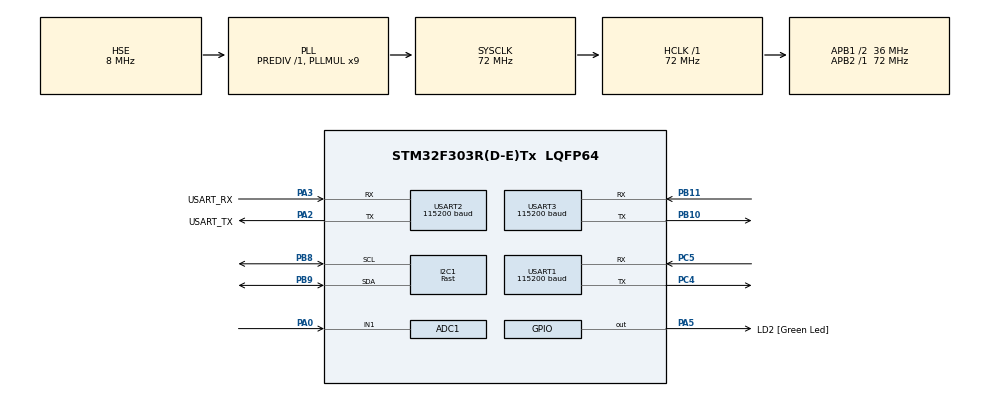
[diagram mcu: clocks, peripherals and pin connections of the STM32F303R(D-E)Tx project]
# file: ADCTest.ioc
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ADC1.Channel-1\#ChannelRegularConversion=ADC_CHANNEL_1
ADC1.ContinuousConvMode=ENABLE
ADC1.DMAContinuousRequests=ENABLE
ADC1.EnableRegularConversion=ENABLE
ADC1.ExternalTrigConv=ADC_EXTERNALTRIGCONV_T3_TRGO
ADC1.NbrOfConversionFlag=1
ADC1.Offset-1\#ChannelRegularConversion=0
ADC1.OffsetNumber-1\#ChannelRegularConversion=ADC_OFFSET_NONE
ADC1.Rank-1\#ChannelRegularConversion=1
ADC1.SamplingTime-1\#ChannelRegularConversion=ADC_SAMPLETIME_601CYCLES_5
ADC1.SamplingTimeOPAMP-1\#ChannelRegularConversion=ADC_SAMPLETIME_61CYCLES_5
ADC1.master=1
Dma.ADC1.0.Direction=DMA_PERIPH_TO_MEMORY
Dma.ADC1.0.Instance=DMA1_Channel1
Dma.ADC1.0.MemDataAlignment=DMA_MDATAALIGN_HALFWORD
Dma.ADC1.0.MemInc=DMA_MINC_ENABLE
Dma.ADC1.0.Mode=DMA_CIRCULAR
Dma.ADC1.0.PeriphDataAlignment=DMA_PDATAALIGN_HALFWORD
Dma.ADC1.0.PeriphInc=DMA_PINC_DISABLE
Dma.ADC1.0.Priority=DMA_PRIORITY_HIGH
Dma.Request0=ADC1
Dma.Request1=USART1_RX
Dma.Request2=USART1_TX
Dma.Request3=USART2_RX
Dma.Request4=USART2_TX
Dma.Request5=USART3_RX
Dma.Request6=USART3_TX
Dma.USART1_RX.1.Direction=DMA_PERIPH_TO_MEMORY
Dma.USART1_RX.1.Instance=DMA1_Channel5
Dma.USART1_RX.1.MemDataAlignment=DMA_MDATAALIGN_BYTE
Dma.USART1_RX.1.MemInc=DMA_MINC_ENABLE
Dma.USART1_RX.1.Mode=DMA_NORMAL
Dma.USART1_RX.1.PeriphDataAlignment=DMA_PDATAALIGN_BYTE
Dma.USART1_RX.1.PeriphInc=DMA_PINC_DISABLE
Dma.USART1_RX.1.Priority=DMA_PRIORITY_LOW
Dma.USART1_TX.2.Direction=DMA_MEMORY_TO_PERIPH
Dma.USART1_TX.2.Instance=DMA1_Channel4
Dma.USART1_TX.2.MemDataAlignment=DMA_MDATAALIGN_BYTE
Dma.USART1_TX.2.MemInc=DMA_MINC_ENABLE
Dma.USART1_TX.2.Mode=DMA_NORMAL
Dma.USART1_TX.2.PeriphDataAlignment=DMA_PDATAALIGN_BYTE
Dma.USART1_TX.2.PeriphInc=DMA_PINC_DISABLE
Dma.USART1_TX.2.Priority=DMA_PRIORITY_LOW
Dma.USART2_RX.3.Direction=DMA_PERIPH_TO_MEMORY
Dma.USART2_RX.3.Instance=DMA1_Channel6
Dma.USART2_RX.3.MemDataAlignment=DMA_MDATAALIGN_BYTE
Dma.USART2_RX.3.MemInc=DMA_MINC_ENABLE
Dma.USART2_RX.3.Mode=DMA_NORMAL
Dma.USART2_RX.3.PeriphDataAlignment=DMA_PDATAALIGN_BYTE
Dma.USART2_RX.3.PeriphInc=DMA_PINC_DISABLE
Dma.USART2_RX.3.Priority=DMA_PRIORITY_LOW
Dma.USART2_TX.4.Direction=DMA_MEMORY_TO_PERIPH
Dma.USART2_TX.4.Instance=DMA1_Channel7
Dma.USART2_TX.4.MemDataAlignment=DMA_MDATAALIGN_BYTE
Dma.USART2_TX.4.MemInc=DMA_MINC_ENABLE
Dma.USART2_TX.4.Mode=DMA_NORMAL
Dma.USART2_TX.4.PeriphDataAlignment=DMA_PDATAALIGN_BYTE
Dma.USART2_TX.4.PeriphInc=DMA_PINC_DISABLE
Dma.USART2_TX.4.Priority=DMA_PRIORITY_LOW
Dma.USART3_RX.5.Direction=DMA_PERIPH_TO_MEMORY
Dma.USART3_RX.5.Instance=DMA1_Channel3
Dma.USART3_RX.5.MemDataAlignment=DMA_MDATAALIGN_BYTE
Dma.USART3_RX.5.MemInc=DMA_MINC_ENABLE
Dma.USART3_RX.5.Mode=DMA_NORMAL
Dma.USART3_RX.5.PeriphDataAlignment=DMA_PDATAALIGN_BYTE
Dma.USART3_RX.5.PeriphInc=DMA_PINC_DISABLE
Dma.USART3_RX.5.Priority=DMA_PRIORITY_LOW
Dma.USART3_TX.6.Direction=DMA_MEMORY_TO_PERIPH
Dma.USART3_TX.6.Instance=DMA1_Channel2
Dma.USART3_TX.6.MemDataAlignment=DMA_MDATAALIGN_BYTE
Dma.USART3_TX.6.MemInc=DMA_MINC_ENABLE
Dma.USART3_TX.6.Mode=DMA_NORMAL
Dma.USART3_TX.6.PeriphDataAlignment=DMA_PDATAALIGN_BYTE
Dma.USART3_TX.6.PeriphInc=DMA_PINC_DISABLE
Dma.USART3_TX.6.Priority=DMA_PRIORITY_LOW
I2C1.I2C_Speed_Mode=I2C_Fast
I2C1.Timing=0x0010020A
Mcu.Family=STM32F3
Mcu.Name=STM32F303R(D-E)Tx
Mcu.Package=LQFP64
NVIC.DMA1_Channel1_IRQn=true\:0\:0\:false\:false\:true\:false\:true\:true
NVIC.DMA1_Channel2_IRQn=true\:0\:0\:false\:false\:true\:false\:true\:true
NVIC.DMA1_Channel3_IRQn=true\:0\:0\:false\:false\:true\:false\:true\:true
NVIC.DMA1_Channel4_IRQn=true\:0\:0\:false\:false\:true\:false\:true\:true
NVIC.DMA1_Channel5_IRQn=true\:0\:0\:false\:false\:true\:false\:true\:true
NVIC.DMA1_Channel6_IRQn=true\:0\:0\:false\:false\:true\:false\:true\:true
NVIC.DMA1_Channel7_IRQn=true\:0\:0\:false\:false\:true\:false\:true\:true
NVIC.PriorityGroup=NVIC_PRIORITYGROUP_0
NVIC.USART1_IRQn=true\:0\:0\:false\:false\:true\:true\:true\:true
NVIC.USART2_IRQn=true\:0\:0\:false\:false\:true\:true\:true\:true
NVIC.USART3_IRQn=true\:0\:0\:false\:false\:true\:true\:true\:true
PA0.Mode=IN1-Single-Ended
PA0.Signal=ADC1_IN1
PA13.GPIO_Label=TMS
PA13.Mode=Serial_Wire
PA13.Signal=SYS_JTMS-SWDIO
PA14.GPIO_Label=TCK
PA14.Mode=Serial_Wire
PA14.Signal=SYS_JTCK-SWCLK
PA2.GPIO_Label=USART_TX
PA2.GPIO_Mode=GPIO_MODE_AF_PP
PA2.GPIO_PuPd=GPIO_NOPULL
PA2.GPIO_Speed=GPIO_SPEED_FREQ_LOW
PA2.Mode=Asynchronous
PA2.Signal=USART2_TX
PA3.GPIO_Label=USART_RX
PA3.GPIO_Mode=GPIO_MODE_AF_PP
PA3.GPIO_PuPd=GPIO_NOPULL
PA3.GPIO_Speed=GPIO_SPEED_FREQ_LOW
PA3.Mode=Asynchronous
PA3.Signal=USART2_RX
PA5.GPIO_Label=LD2 [Green Led]
PA5.GPIO_Mode=GPIO_MODE_OUTPUT_PP
PA5.GPIO_PuPd=GPIO_NOPULL
PA5.GPIO_Speed=GPIO_SPEED_FREQ_LOW
PA5.Signal=GPIO_Output
PB10.Mode=Asynchronous
PB10.Signal=USART3_TX
PB11.Mode=Asynchronous
PB11.Signal=USART3_RX
PB3.GPIO_Label=SWO
PB3.Signal=SYS_JTDO-TRACESWO
PB8.Mode=I2C
PB8.Signal=I2C1_SCL
PB9.Mode=I2C
PB9.Signal=I2C1_SDA
PC14-OSC32_IN.Mode=LSE-External-Oscillator
PC14-OSC32_IN.Signal=RCC_OSC32_IN
PC15-OSC32_OUT.Mode=LSE-External-Oscillator
PC15-OSC32_OUT.Signal=RCC_OSC32_OUT
PC4.Mode=Asynchronous
PC4.Signal=USART1_TX
PC5.Mode=Asynchronous
PC5.Signal=USART1_RX
PF0-OSC_IN.Mode=HSE-External-Clock-Source
PF0-OSC_IN.Signal=RCC_OSC_IN
PF1-OSC_OUT.Signal=RCC_OSC_OUT
ProjectManager.HeapSize=0x200
ProjectManager.StackSize=0x400
ProjectManager.TargetToolchain=CMake
RCC.AHBFreq_Value=72000000
RCC.APB1CLKDivider=RCC_HCLK_DIV2
RCC.APB1Freq_Value=36000000
RCC.APB1TimFreq_Value=72000000
RCC.APB2Freq_Value=72000000
RCC.APB2TimFreq_Value=72000000
RCC.CortexFreq_Value=72000000
RCC.HCLKFreq_Value=72000000
RCC.HSE_VALUE=8000000
RCC.HSI_VALUE=8000000
RCC.PLLM=8
RCC.PLLMUL=RCC_PLL_MUL9
RCC.PLLN=336
RCC.PLLP=RCC_PLLP_DIV4
RCC.PLLQ=7
RCC.PLLSourceVirtual=RCC_PLLSOURCE_HSE
RCC.RCC_PLLsource_Clock_Source_FROM_HSE=RCC_HSE_PREDIV_DIV2
RCC.SYSCLKFreq_VALUE=72000000
RCC.SYSCLKSourceVirtual=RCC_SYSCLKSOURCE_PLLCLK
RCC.USBFreq_Value=72000000
TIM3.Period=999
TIM3.Prescaler=35
TIM3.TIM_MasterOutputTrigger=TIM_TRGO_UPDATE
USART1.BaudRate=115200
USART1.VirtualMode-Asynchronous=VM_ASYNC
USART2.BaudRate=115200
USART2.VirtualMode-Asynchronous=VM_ASYNC
USART3.BaudRate=115200
USART3.VirtualMode-Asynchronous=VM_ASYNC
VP_TIM3_VS_ClockSourceINT.Mode=Internal
board=NUCLEO-F303RE

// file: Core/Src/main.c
/* USER CODE BEGIN Header */
/**
  ******************************************************************************
  * @file           : main.c
  * @brief          : Main program body
  ******************************************************************************
  * @attention
  *
  * Copyright (c) 2025 STMicroelectronics.
  * All rights reserved.
  *
  * This software is licensed under terms that can be found in the LICENSE file
  * in the root directory of this software component.
  * If no LICENSE file comes with this software, it is provided AS-IS.
  *
  ******************************************************************************
  */
/* USER CODE END Header */
#include "main.h"

/* USER CODE BEGIN Includes */
#include <stdio.h>
#include <string.h>
#include <stdbool.h>

#include "arm_math.h"
#include "ssd1306.h"
#include "ssd1306_fonts.h"
/* USER CODE END Includes */

/* USER CODE BEGIN PD */
#define ADC_BUFFER_SIZE 2048
#define FFT_SIZE ADC_BUFFER_SIZE

/* MOPA Algorithm parameters */
#define SAMPLE_RATE 2000.0f        /* Sample rate in Hz */
#define MIN_OMEGA 10.0f            /* Minimum angular frequency (Hz) */
#define MAX_OMEGA 100.0f           /* Maximum angular frequency (Hz) */
#define N_OMEGA 100                /* Number of omega candidates (reduced for embedded) */
#define N_ORDERS 3                 /* Number of harmonic orders */
#define SIGMA_HZ 10.0f             /* Gaussian prior smoothing parameter */
#define PRIOR_WEIGHT 2.0f          /* Weight for Gaussian prior */
/* USER CODE END PD */

ADC_HandleTypeDef hadc1;
DMA_HandleTypeDef hdma_adc1;

I2C_HandleTypeDef hi2c1;

TIM_HandleTypeDef htim3;

UART_HandleTypeDef huart1;
UART_HandleTypeDef huart2;
UART_HandleTypeDef huart3;
DMA_HandleTypeDef hdma_usart1_rx;
DMA_HandleTypeDef hdma_usart1_tx;
DMA_HandleTypeDef hdma_usart2_rx;
DMA_HandleTypeDef hdma_usart2_tx;
DMA_HandleTypeDef hdma_usart3_rx;
DMA_HandleTypeDef hdma_usart3_tx;

/* USER CODE BEGIN PV */

/*
Input buffer for the MOPA algorithm, filled by ADC DMA.
*/
uint16_t adc_input_buffer[ADC_BUFFER_SIZE];    /* Input buffer filled by ADC DMA */

volatile uint8_t buffer_half_full_flag = 0;
volatile uint8_t buffer_full_flag = 0;

// FFT buffers and instance
float32_t fft_input[FFT_SIZE];
float32_t fft_output[FFT_SIZE * 2];  // Complex output: real and imaginary
float32_t fft_magnitude[FFT_SIZE];
float32_t hann_window[FFT_SIZE];  // Hann window coefficients

arm_rfft_fast_instance_f32 fft_instance;

// Voltage measurement variables
#define VREF 3.3f  // Reference voltage in volts
#define ADC_MAX 4095.0f  // 12-bit ADC max value (2^12 - 1)

/* MOPA Algorithm buffers */
static const uint8_t mopa_orders[N_ORDERS] = {1, 2, 3};  /* Harmonic orders to consider */
float32_t mopa_omega[N_OMEGA];              /* Omega candidate values */
float32_t mopa_pdf[N_OMEGA];                /* PDF for current frame */
float32_t mopa_biased_pdf[N_OMEGA];         /* Biased PDF with Gaussian prior */
float32_t mopa_prev_ias = 0.0f;             /* Previous IAS estimate for smoothing */
float32_t mopa_current_ias = 0.0f;          /* Current IAS estimate */
volatile uint8_t mopa_ias_ready = 0;        /* Flag: IAS estimate ready */
uint8_t mopa_initialized = 0;               /* Flag: MOPA omega vector initialized */

/* Spectrum parameters (calculated from FFT) */
float32_t spectrum_df = 0.0f;               /* Frequency resolution (Hz per bin) */
float32_t spectrum_max_freq = 0.0f;         /* Maximum frequency in spectrum */

/* USER CODE END PV */

void SystemClock_Config(void);
static void MX_GPIO_Init(void);
static void MX_DMA_Init(void);
static void MX_USART2_UART_Init(void);
static void MX_ADC1_Init(void);
static void MX_USART1_UART_Init(void);
static void MX_USART3_UART_Init(void);
static void MX_TIM3_Init(void);
static void MX_I2C1_Init(void);
/* USER CODE BEGIN PFP */

/* MOPA function prototypes */
static void mopa_init(void);
static void normalize_spectrum(void);
static float32_t interp_spectrum(float32_t freq);
static void compute_pdf_map(void);
static float32_t extract_ias(void);
/* USER CODE END PFP */

/* USER CODE BEGIN 0 */

/*
HELPER FUNCTIONS
*/

// Initialize Hann window coefficients
void init_hann_window(void)
{
  const float32_t pi = 3.14159265358979323846f;
  for (uint32_t i = 0; i < FFT_SIZE; i++)
  {
    // Hann window: w(n) = 0.5 * (1 - cos(2*pi*n/(N-1)))
    hann_window[i] = 0.5f * (1.0f - arm_cos_f32(2.0f * pi * i / (FFT_SIZE - 1)));
  }
}

/*
MOPA FUNCTIONS
*/

// Process FFT on ADC buffer segment with Hann windowing
void process_fft(uint16_t* input, uint32_t offset)
{
  uint32_t half_size = FFT_SIZE / 2;
  uint32_t old_data_offset;

  // Determine the offset of the old data
  if (offset == 0) {
      old_data_offset = half_size;
  } else {
      old_data_offset = 0;
  }

  /* Construct Input Buffer: [OLD DATA] + [NEW DATA] */

  // First, copy data without windowing to calculate DC offset
  float32_t dc_sum = 0.0f;
  for (uint32_t i = 0; i < half_size; i++)
  {
      fft_input[i] = (float32_t) input[old_data_offset + i];
      dc_sum += fft_input[i];
  }
  for (uint32_t i = 0; i < half_size; i++)
  {
      fft_input[i + half_size] = (float32_t) input[offset + i];
      dc_sum += fft_input[i + half_size];
  }

  // Calculate and remove DC offset
  float32_t dc_offset = dc_sum / (float32_t)FFT_SIZE;

  // Remove DC offset and apply Hann window
  for (uint32_t i = 0; i < FFT_SIZE; i++)
  {
      fft_input[i] = (fft_input[i] - dc_offset) * hann_window[i];
  }

  // Perform FFT
  arm_rfft_fast_f32(&fft_instance, fft_input, fft_output, 0);

  // Calculate magnitude spectrum
  arm_cmplx_mag_f32(fft_output, fft_magnitude, FFT_SIZE / 2);

  // Normalize the magnitude spectrum (for FFT scaling)
  float32_t norm_factor = 2.0f / (float32_t)FFT_SIZE;
  for (uint32_t i = 0; i < FFT_SIZE / 2; i++) {
    fft_magnitude[i] *= norm_factor;
  }

  // Run MOPA algorithm
  if (mopa_initialized) {
    // Normalize spectrum for MOPA (RMS normalization)
    normalize_spectrum();

    // Compute PDF map
    compute_pdf_map();

    // Extract IAS estimate
    mopa_current_ias = extract_ias();
    mopa_prev_ias = mopa_current_ias;
    mopa_ias_ready = 1;
  }
}

/* Initialize MOPA algorithm - compute omega vector and spectrum parameters */
static void mopa_init(void) {
  /* Compute omega candidate vector */
  float32_t d_omega = (MAX_OMEGA - MIN_OMEGA) / (float32_t)(N_OMEGA - 1);
  for (uint16_t i = 0; i < N_OMEGA; i++) {
    mopa_omega[i] = MIN_OMEGA + i * d_omega;
  }

  /* Compute spectrum parameters based on FFT size and sample rate */
  spectrum_df = SAMPLE_RATE / (float32_t)FFT_SIZE;
  spectrum_max_freq = spectrum_df * ((float32_t)FFT_SIZE / 2.0f - 1.0f);

  mopa_initialized = 1;
}

/* Normalize the magnitude spectrum by its RMS value */
static void normalize_spectrum(void) {
  float32_t sum_sq = 0.0f;
  uint16_t n_bins = FFT_SIZE / 2;

  /* Calculate sum of squares */
  for (uint16_t i = 0; i < n_bins; i++) {
    sum_sq += fft_magnitude[i] * fft_magnitude[i];
  }

  /* Calculate RMS and normalize */
  float32_t rms;
  arm_sqrt_f32(sum_sq / (float32_t)n_bins, &rms);

  if (rms > 1e-10f) {
    float32_t inv_rms = 1.0f / rms;
    for (uint16_t i = 0; i < n_bins; i++) {
      fft_magnitude[i] *= inv_rms;
    }
  }
}

/* Linear interpolation of spectrum at a given frequency */
static float32_t interp_spectrum(float32_t freq) {
  /* Handle boundary cases */
  if (freq <= 0.0f) {
    return fft_magnitude[0];
  }
  if (freq >= spectrum_max_freq) {
    return fft_magnitude[FFT_SIZE / 2 - 1];
  }

  /* Calculate bin index */
  float32_t bin_float = freq / spectrum_df;
  uint16_t idx = (uint16_t)bin_float;

  if (idx >= FFT_SIZE / 2 - 1) {
    idx = FFT_SIZE / 2 - 2;
  }

  /* Linear interpolation */
  float32_t f0 = idx * spectrum_df;
  float32_t f1 = (idx + 1) * spectrum_df;
  float32_t v0 = fft_magnitude[idx];
  float32_t v1 = fft_magnitude[idx + 1];

  float32_t t = (freq - f0) / (f1 - f0);
  return v0 + t * (v1 - v0);
}

/* Compute PDF map for all omega candidates */
static void compute_pdf_map(void) {
  float32_t max_log = -1e30f;

  /* Compute log-PDF for each omega candidate */
  for (uint16_t i = 0; i < N_OMEGA; i++) {
    float32_t w = mopa_omega[i];
    float32_t log_pdf = 0.0f;

    /* Sum log of spectrum values at harmonic frequencies */
    for (uint8_t o = 0; o < N_ORDERS; o++) {
      float32_t freq = mopa_orders[o] * w;
      if (freq < spectrum_max_freq) {
        float32_t s = interp_spectrum(freq);
        if (s < 1e-10f) s = 1e-10f;
        log_pdf += logf(s);
      }
    }

    mopa_pdf[i] = log_pdf;
    if (log_pdf > max_log) {
      max_log = log_pdf;
    }
  }

  /* Convert to linear scale and normalize */
  float32_t sum = 0.0f;
  for (uint16_t i = 0; i < N_OMEGA; i++) {
    float32_t val = expf(mopa_pdf[i] - max_log);
    mopa_pdf[i] = val;
    sum += val;
  }

  if (sum > 0.0f) {
    float32_t inv_sum = 1.0f / sum;
    for (uint16_t i = 0; i < N_OMEGA; i++) {
      mopa_pdf[i] *= inv_sum;
    }
  }
}

/* Extract IAS estimate using Gaussian prior smoothing */
static float32_t extract_ias(void) {
  float32_t max_val = 0.0f;
  uint16_t peak_idx = 0;

  if (mopa_prev_ias == 0.0f) {
    /* First frame: simple argmax */
    for (uint16_t i = 0; i < N_OMEGA; i++) {
      if (mopa_pdf[i] > max_val) {
        max_val = mopa_pdf[i];
        peak_idx = i;
      }
    }
  } else {
    /* Subsequent frames: apply Gaussian prior biasing */
    float32_t sigma_sq_2 = 2.0f * SIGMA_HZ * SIGMA_HZ;

    for (uint16_t i = 0; i < N_OMEGA; i++) {
      float32_t w = mopa_omega[i];
      float32_t diff = w - mopa_prev_ias;
      float32_t gaussian = expf(-(diff * diff) / sigma_sq_2);
      mopa_biased_pdf[i] = mopa_pdf[i] * (1.0f + PRIOR_WEIGHT * gaussian);

      if (mopa_biased_pdf[i] > max_val) {
        max_val = mopa_biased_pdf[i];
        peak_idx = i;
      }
    }
  }

  return mopa_omega[peak_idx];
}

/*
INTERRUPT ROUTINES
*/

// DMA half-transfer complete callback
void HAL_ADC_ConvHalfCpltCallback(ADC_HandleTypeDef* hadc)
{
  if (hadc->Instance == ADC1)
  {
    buffer_half_full_flag = 1;
  }
}

// DMA transfer complete callback
void HAL_ADC_ConvCpltCallback(ADC_HandleTypeDef* hadc)
{
  if (hadc->Instance == ADC1)
  {
    buffer_full_flag = 1;
  }
}

/* USER CODE END 0 */

int main(void)
{

  /* MCU Configuration--------------------------------------------------------*/

  /* Reset of all peripherals, Initializes the Flash interface and the Systick. */
  HAL_Init();

  /* Configure the system clock */
  SystemClock_Config();

  /* Initialize all configured peripherals */
  MX_GPIO_Init();
  MX_DMA_Init();
  MX_USART2_UART_Init();
  MX_ADC1_Init();
  MX_USART1_UART_Init();
  MX_USART3_UART_Init();
  MX_TIM3_Init();
  MX_I2C1_Init();
  /* USER CODE BEGIN 2 */

  // Initialize FFT instance
  arm_rfft_fast_init_f32(&fft_instance, FFT_SIZE);

  // Initialize Hann window coefficients for spectral leakage reduction
  init_hann_window();

  // Initialize MOPA algorithm
  mopa_init();

  // Calibrate ADC
  HAL_ADCEx_Calibration_Start(&hadc1, ADC_SINGLE_ENDED);

  // Start ADC with DMA
  HAL_ADC_Start_DMA(&hadc1, (uint32_t*) adc_input_buffer, ADC_BUFFER_SIZE);

  // Start TIM3 to trigger ADC conversions at 2000 Hz
  HAL_TIM_Base_Start(&htim3);

  // Initialize SSD1306 OLED display
  ssd1306_Init();
  ssd1306_Fill(Black);
  ssd1306_SetCursor(0, 0);
  ssd1306_WriteString("Motor Speed", Font_11x18, White);
  ssd1306_SetCursor(0, 24);
  ssd1306_WriteString("Waiting...", Font_11x18, White);
  ssd1306_UpdateScreen();

  /* USER CODE END 2 */

  /* Infinite loop */
  while (1)
  {

    /* USER CODE BEGIN 3 */

    // Output IAS estimate when ready
    if (mopa_ias_ready) {
      mopa_ias_ready = 0;
      // Convert float to integer parts
      int ias_int = (int)mopa_current_ias;
      int ias_frac = (int)((mopa_current_ias - ias_int) * 100);
      if (ias_frac < 0) ias_frac = -ias_frac;

      // Display IAS on OLED
      ssd1306_Fill(Black);
      ssd1306_SetCursor(0, 0);
      ssd1306_WriteString("Motor Speed", Font_11x18, White);
      ssd1306_SetCursor(0, 24);
      char oled_ias[16];
      sprintf(oled_ias, "%d.%02d Hz", ias_int, ias_frac);
      ssd1306_WriteString(oled_ias, Font_16x26, White);
      ssd1306_UpdateScreen();
    }

    // Check if ADC buffer is half full
    if (buffer_half_full_flag)
    {
      buffer_half_full_flag = 0;
      process_fft(adc_input_buffer, 0);
    }

    // Check if ADC buffer is full
    if (buffer_full_flag)
    {
      buffer_full_flag = 0;
      process_fft(adc_input_buffer, ADC_BUFFER_SIZE / 2);
    }

  }
  /* USER CODE END 3 */
}

void SystemClock_Config(void)
{
  RCC_OscInitTypeDef RCC_OscInitStruct = {0};
  RCC_ClkInitTypeDef RCC_ClkInitStruct = {0};
  RCC_PeriphCLKInitTypeDef PeriphClkInit = {0};

  /** Initializes the RCC Oscillators according to the specified parameters
  * in the RCC_OscInitTypeDef structure.
  */
  RCC_OscInitStruct.OscillatorType = RCC_OSCILLATORTYPE_HSI|RCC_OSCILLATORTYPE_HSE;
  RCC_OscInitStruct.HSEState = RCC_HSE_BYPASS;
  RCC_OscInitStruct.HSIState = RCC_HSI_ON;
  RCC_OscInitStruct.HSICalibrationValue = RCC_HSICALIBRATION_DEFAULT;
  RCC_OscInitStruct.PLL.PLLState = RCC_PLL_ON;
  RCC_OscInitStruct.PLL.PLLSource = RCC_PLLSOURCE_HSE;
  RCC_OscInitStruct.PLL.PLLMUL = RCC_PLL_MUL9;
  RCC_OscInitStruct.PLL.PREDIV = RCC_PREDIV_DIV1;
  if (HAL_RCC_OscConfig(&RCC_OscInitStruct) != HAL_OK)
  {
    Error_Handler();
  }

  /** Initializes the CPU, AHB and APB buses clocks
  */
  RCC_ClkInitStruct.ClockType = RCC_CLOCKTYPE_HCLK|RCC_CLOCKTYPE_SYSCLK
                              |RCC_CLOCKTYPE_PCLK1|RCC_CLOCKTYPE_PCLK2;
  RCC_ClkInitStruct.SYSCLKSource = RCC_SYSCLKSOURCE_PLLCLK;
  RCC_ClkInitStruct.AHBCLKDivider = RCC_SYSCLK_DIV1;
  RCC_ClkInitStruct.APB1CLKDivider = RCC_HCLK_DIV2;
  RCC_ClkInitStruct.APB2CLKDivider = RCC_HCLK_DIV1;

  if (HAL_RCC_ClockConfig(&RCC_ClkInitStruct, FLASH_LATENCY_2) != HAL_OK)
  {
    Error_Handler();
  }
  PeriphClkInit.PeriphClockSelection = RCC_PERIPHCLK_USART1|RCC_PERIPHCLK_USART2
                              |RCC_PERIPHCLK_USART3|RCC_PERIPHCLK_I2C1
                              |RCC_PERIPHCLK_ADC12|RCC_PERIPHCLK_TIM34;
  PeriphClkInit.Usart1ClockSelection = RCC_USART1CLKSOURCE_PCLK2;
  PeriphClkInit.Usart2ClockSelection = RCC_USART2CLKSOURCE_PCLK1;
  PeriphClkInit.Usart3ClockSelection = RCC_USART3CLKSOURCE_PCLK1;
  PeriphClkInit.Adc12ClockSelection = RCC_ADC12PLLCLK_DIV1;
  PeriphClkInit.I2c1ClockSelection = RCC_I2C1CLKSOURCE_HSI;
  PeriphClkInit.Tim34ClockSelection = RCC_TIM34CLK_HCLK;
  if (HAL_RCCEx_PeriphCLKConfig(&PeriphClkInit) != HAL_OK)
  {
    Error_Handler();
  }
}

static void MX_ADC1_Init(void)
{

  ADC_MultiModeTypeDef multimode = {0};
  ADC_ChannelConfTypeDef sConfig = {0};

  /** Common config
  */
  hadc1.Instance = ADC1;
  hadc1.Init.ClockPrescaler = ADC_CLOCK_ASYNC_DIV1;
  hadc1.Init.Resolution = ADC_RESOLUTION_12B;
  hadc1.Init.ScanConvMode = ADC_SCAN_DISABLE;
  hadc1.Init.ContinuousConvMode = ENABLE;
  hadc1.Init.DiscontinuousConvMode = DISABLE;
  hadc1.Init.ExternalTrigConvEdge = ADC_EXTERNALTRIGCONVEDGE_RISING;
  hadc1.Init.ExternalTrigConv = ADC_EXTERNALTRIGCONV_T3_TRGO;
  hadc1.Init.DataAlign = ADC_DATAALIGN_RIGHT;
  hadc1.Init.NbrOfConversion = 1;
  hadc1.Init.DMAContinuousRequests = ENABLE;
  hadc1.Init.EOCSelection = ADC_EOC_SINGLE_CONV;
  hadc1.Init.LowPowerAutoWait = DISABLE;
  hadc1.Init.Overrun = ADC_OVR_DATA_OVERWRITTEN;
  if (HAL_ADC_Init(&hadc1) != HAL_OK)
  {
    Error_Handler();
  }

  /** Configure the ADC multi-mode
  */
  multimode.Mode = ADC_MODE_INDEPENDENT;
  if (HAL_ADCEx_MultiModeConfigChannel(&hadc1, &multimode) != HAL_OK)
  {
    Error_Handler();
  }

  /** Configure Regular Channel
  */
  sConfig.Channel = ADC_CHANNEL_1;
  sConfig.Rank = ADC_REGULAR_RANK_1;
  sConfig.SingleDiff = ADC_SINGLE_ENDED;
  sConfig.SamplingTime = ADC_SAMPLETIME_601CYCLES_5;
  sConfig.OffsetNumber = ADC_OFFSET_NONE;
  sConfig.Offset = 0;
  if (HAL_ADC_ConfigChannel(&hadc1, &sConfig) != HAL_OK)
  {
    Error_Handler();
  }

}

static void MX_I2C1_Init(void)
{

  hi2c1.Instance = I2C1;
  hi2c1.Init.Timing = 0x0010020A;
  hi2c1.Init.OwnAddress1 = 0;
  hi2c1.Init.AddressingMode = I2C_ADDRESSINGMODE_7BIT;
  hi2c1.Init.DualAddressMode = I2C_DUALADDRESS_DISABLE;
  hi2c1.Init.OwnAddress2 = 0;
  hi2c1.Init.OwnAddress2Masks = I2C_OA2_NOMASK;
  hi2c1.Init.GeneralCallMode = I2C_GENERALCALL_DISABLE;
  hi2c1.Init.NoStretchMode = I2C_NOSTRETCH_DISABLE;
  if (HAL_I2C_Init(&hi2c1) != HAL_OK)
  {
    Error_Handler();
  }

  /** Configure Analogue filter
  */
  if (HAL_I2CEx_ConfigAnalogFilter(&hi2c1, I2C_ANALOGFILTER_ENABLE) != HAL_OK)
  {
    Error_Handler();
  }

  /** Configure Digital filter
  */
  if (HAL_I2CEx_ConfigDigitalFilter(&hi2c1, 0) != HAL_OK)
  {
    Error_Handler();
  }

}

static void MX_TIM3_Init(void)
{

  TIM_ClockConfigTypeDef sClockSourceConfig = {0};
  TIM_MasterConfigTypeDef sMasterConfig = {0};

  htim3.Instance = TIM3;
  htim3.Init.Prescaler = 35;
  htim3.Init.CounterMode = TIM_COUNTERMODE_UP;
  htim3.Init.Period = 999;
  htim3.Init.ClockDivision = TIM_CLOCKDIVISION_DIV1;
  htim3.Init.AutoReloadPreload = TIM_AUTORELOAD_PRELOAD_DISABLE;
  if (HAL_TIM_Base_Init(&htim3) != HAL_OK)
  {
    Error_Handler();
  }
  sClockSourceConfig.ClockSource = TIM_CLOCKSOURCE_INTERNAL;
  if (HAL_TIM_ConfigClockSource(&htim3, &sClockSourceConfig) != HAL_OK)
  {
    Error_Handler();
  }
  sMasterConfig.MasterOutputTrigger = TIM_TRGO_UPDATE;
  sMasterConfig.MasterSlaveMode = TIM_MASTERSLAVEMODE_DISABLE;
  if (HAL_TIMEx_MasterConfigSynchronization(&htim3, &sMasterConfig) != HAL_OK)
  {
    Error_Handler();
  }

}

static void MX_USART1_UART_Init(void)
{

  huart1.Instance = USART1;
  huart1.Init.BaudRate = 115200;
  huart1.Init.WordLength = UART_WORDLENGTH_8B;
  huart1.Init.StopBits = UART_STOPBITS_1;
  huart1.Init.Parity = UART_PARITY_NONE;
  huart1.Init.Mode = UART_MODE_TX_RX;
  huart1.Init.HwFlowCtl = UART_HWCONTROL_NONE;
  huart1.Init.OverSampling = UART_OVERSAMPLING_16;
  huart1.Init.OneBitSampling = UART_ONE_BIT_SAMPLE_DISABLE;
  huart1.AdvancedInit.AdvFeatureInit = UART_ADVFEATURE_NO_INIT;
  if (HAL_UART_Init(&huart1) != HAL_OK)
  {
    Error_Handler();
  }

}

static void MX_USART2_UART_Init(void)
{

  huart2.Instance = USART2;
  huart2.Init.BaudRate = 115200;
  huart2.Init.WordLength = UART_WORDLENGTH_8B;
  huart2.Init.StopBits = UART_STOPBITS_1;
  huart2.Init.Parity = UART_PARITY_NONE;
  huart2.Init.Mode = UART_MODE_TX_RX;
  huart2.Init.HwFlowCtl = UART_HWCONTROL_NONE;
  huart2.Init.OverSampling = UART_OVERSAMPLING_16;
  huart2.Init.OneBitSampling = UART_ONE_BIT_SAMPLE_DISABLE;
  huart2.AdvancedInit.AdvFeatureInit = UART_ADVFEATURE_NO_INIT;
  if (HAL_UART_Init(&huart2) != HAL_OK)
  {
    Error_Handler();
  }

}

static void MX_USART3_UART_Init(void)
{

  huart3.Instance = USART3;
  huart3.Init.BaudRate = 115200;
  huart3.Init.WordLength = UART_WORDLENGTH_8B;
  huart3.Init.StopBits = UART_STOPBITS_1;
  huart3.Init.Parity = UART_PARITY_NONE;
  huart3.Init.Mode = UART_MODE_TX_RX;
  huart3.Init.HwFlowCtl = UART_HWCONTROL_NONE;
  huart3.Init.OverSampling = UART_OVERSAMPLING_16;
  huart3.Init.OneBitSampling = UART_ONE_BIT_SAMPLE_DISABLE;
  huart3.AdvancedInit.AdvFeatureInit = UART_ADVFEATURE_NO_INIT;
  if (HAL_UART_Init(&huart3) != HAL_OK)
  {
    Error_Handler();
  }

}

static void MX_DMA_Init(void)
{

  /* DMA controller clock enable */
  __HAL_RCC_DMA1_CLK_ENABLE();

  /* DMA interrupt init */
  /* DMA1_Channel1_IRQn interrupt configuration */
  HAL_NVIC_SetPriority(DMA1_Channel1_IRQn, 0, 0);
  HAL_NVIC_EnableIRQ(DMA1_Channel1_IRQn);
  /* DMA1_Channel2_IRQn interrupt configuration */
  HAL_NVIC_SetPriority(DMA1_Channel2_IRQn, 0, 0);
  HAL_NVIC_EnableIRQ(DMA1_Channel2_IRQn);
  /* DMA1_Channel3_IRQn interrupt configuration */
  HAL_NVIC_SetPriority(DMA1_Channel3_IRQn, 0, 0);
  HAL_NVIC_EnableIRQ(DMA1_Channel3_IRQn);
  /* DMA1_Channel4_IRQn interrupt configuration */
  HAL_NVIC_SetPriority(DMA1_Channel4_IRQn, 0, 0);
  HAL_NVIC_EnableIRQ(DMA1_Channel4_IRQn);
  /* DMA1_Channel5_IRQn interrupt configuration */
  HAL_NVIC_SetPriority(DMA1_Channel5_IRQn, 0, 0);
  HAL_NVIC_EnableIRQ(DMA1_Channel5_IRQn);
  /* DMA1_Channel6_IRQn interrupt configuration */
  HAL_NVIC_SetPriority(DMA1_Channel6_IRQn, 0, 0);
  HAL_NVIC_EnableIRQ(DMA1_Channel6_IRQn);
  /* DMA1_Channel7_IRQn interrupt configuration */
  HAL_NVIC_SetPriority(DMA1_Channel7_IRQn, 0, 0);
  HAL_NVIC_EnableIRQ(DMA1_Channel7_IRQn);

}

static void MX_GPIO_Init(void)
{
  GPIO_InitTypeDef GPIO_InitStruct = {0};

  /* GPIO Ports Clock Enable */
  __HAL_RCC_GPIOC_CLK_ENABLE();
  __HAL_RCC_GPIOF_CLK_ENABLE();
  __HAL_RCC_GPIOA_CLK_ENABLE();
  __HAL_RCC_GPIOB_CLK_ENABLE();

  /*Configure GPIO pin Output Level */
  HAL_GPIO_WritePin(LD2_GPIO_Port, LD2_Pin, GPIO_PIN_RESET);

  /*Configure GPIO pin : LD2_Pin */
  GPIO_InitStruct.Pin = LD2_Pin;
  GPIO_InitStruct.Mode = GPIO_MODE_OUTPUT_PP;
  GPIO_InitStruct.Pull = GPIO_NOPULL;
  GPIO_InitStruct.Speed = GPIO_SPEED_FREQ_LOW;
  HAL_GPIO_Init(LD2_GPIO_Port, &GPIO_InitStruct);

/* USER CODE BEGIN MX_GPIO_Init_2 */
  /* Enable EXTI interrupt for button on PC13 */
  HAL_NVIC_SetPriority(EXTI15_10_IRQn, 1, 0);
  HAL_NVIC_EnableIRQ(EXTI15_10_IRQn);
/* USER CODE END MX_GPIO_Init_2 */
}

/* USER CODE BEGIN 4 */

/* GPIO EXTI callback - handles button press on PC13 */
void HAL_GPIO_EXTI_Callback(uint16_t GPIO_Pin)
{
  /*
  if (GPIO_Pin == GPIO_PIN_13)
  {
    HAL_GPIO_TogglePin(GPIOA, GPIO_PIN_5);
  }
  */
}

/* USER CODE END 4 */

void Error_Handler(void)
{
  __disable_irq();
  while (1)
  {
  }
}
